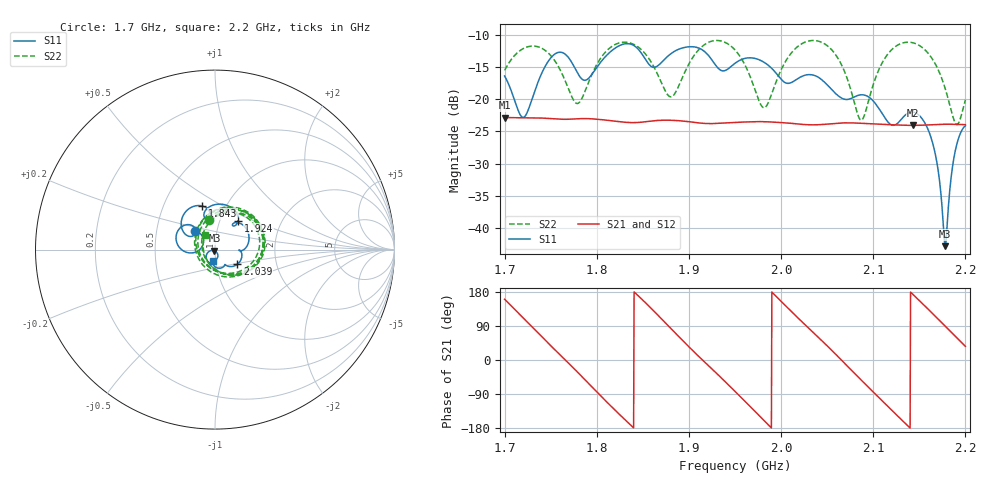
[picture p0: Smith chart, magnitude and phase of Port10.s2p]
# Hz S RI R 50
! CMT, CMT808U, 21440046, 21.4.3/4
! Date: 6/12/2026 9:34:10 AM
! Data: Format (Calibration Info)
! Freq	S11:Re/Im(F2)	S41:Re/Im(F2)	S14:Re/Im(F2)	S44:Re/Im(F2)
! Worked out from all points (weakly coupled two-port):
!   1001 points, 1.7 GHz to 2.2 GHz, reference 50 ohm
!   highest |S21| = -22.85 dB at 1.7 GHz (marker M1); lowest = -24.1 dB at 2.143 GHz (marker M2)
!   lowest |S11| = -42.8 dB at 2.178 GHz (marker M3), VSWR 1.01, Z = 49.7 - j0.648 ohm
!   |S11| at or under -10 dB: start of sweep to end of sweep
!   |S22| runs from -23.9 to -10.9 dB; largest |S21 - S12| = 0.0012
!   S11 on the Smith chart (normalised r, x): 1.7 GHz: 0.78, +0.16; 1.843 GHz: 0.78, +0.40; 1.924 GHz: 1.22, +0.41; 2.039 GHz: 1.27, -0.21; 2.2 GHz: 0.97, -0.12
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1.7e9  -0.1127 0.1011  -0.0678 0.0242  -0.0679 0.0232  -0.0338 0.164
1.72e9  -0.0674 0.0259  -0.0264 0.0666  -0.0273 0.0659  0.1541 0.1929
1.7395e9  -0.1537 -0.0165  0.0316 0.064  0.0306 0.0642  0.2487 0.0281
1.7605e9  -0.2085 0.1016  0.0682 0.0154  0.0676 0.0164  0.1064 -0.1299
1.7835e9  -0.1065 0.0973  0.0518 -0.0481  0.0524 -0.047  -0.1002 -0.000682
1.8125e9  -0.1868 0.1265  -0.0286 -0.0622  -0.0275 -0.0625  0.0783 0.2317
1.843e9  -0.0703 0.2428  -0.0655 0.00677  -0.0653 0.00575  0.2594 -0.0157
1.867e9  -0.0551 0.1752  -0.0308 0.0611  -0.0316 0.0604  0.0326 -0.1472
1.882e9  -0.0478 0.2249  0.0128 0.0673  0.0117 0.0673  -0.1014 -0.0279
1.924e9  0.1281 0.1614  0.0602 -0.0235  0.0604 -0.0224  0.2034 0.1947
1.95e9  0.1157 0.1508  0.00838 -0.0654  0.00951 -0.0651  0.2309 -0.0703
1.9815e9  0.188 0.0463  -0.0627 -0.0232  -0.0622 -0.0242  -0.0767 -0.0383
2.0095e9  0.1333 -0.00179  -0.0435 0.0484  -0.0443 0.0474  0.039 0.2175
2.0335e9  0.1415 -0.0624  0.0156 0.0613  0.0144 0.0614  0.2607 0.1169
2.0395e9  0.1252 -0.0816  0.0298 0.0558  0.0288 0.0563  0.2782 0.055
2.0865e9  0.0398 -0.1006  0.0401 -0.0511  0.0409 -0.0503  -0.0633 -0.0268
2.117e9  -0.00921 -0.0646  -0.0365 -0.0519  -0.0355 -0.0524  0.0941 0.2095
2.1435e9  -0.0304 -0.0733  -0.062 0.00851  -0.0621 0.00737  0.2714 0.0371
2.165e9  -0.0407 -0.0172  -0.0329 0.0542  -0.0338 0.0536  0.1498 -0.1338
2.178e9  -0.00306 -0.00652  0.000425 0.0639  -0.000728 0.0638  0.017 -0.1202
2.1885e9  0.0162 -0.0344  0.0281 0.0573  0.027 0.0578  -0.0547 -0.0377
2.2e9  -0.0094 -0.0614  0.0513 0.0373  0.0505 0.0382  -0.0553 0.0818
